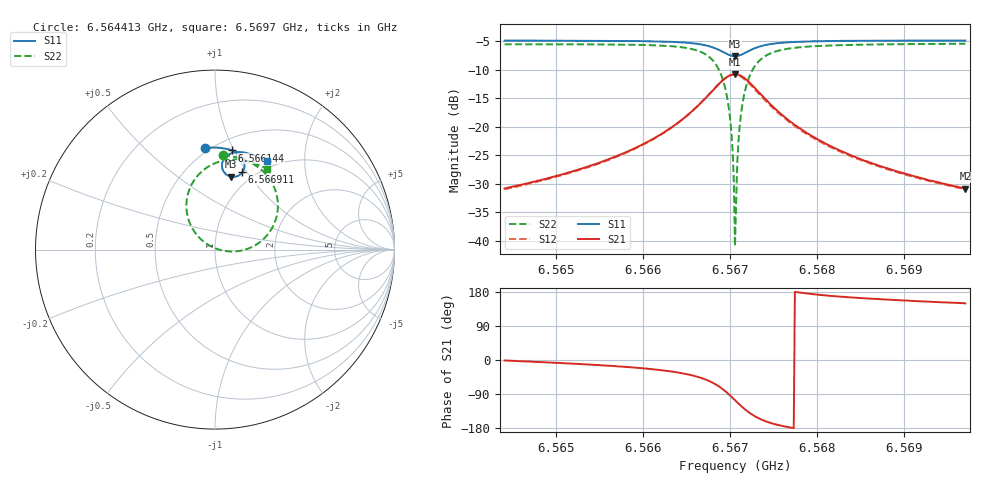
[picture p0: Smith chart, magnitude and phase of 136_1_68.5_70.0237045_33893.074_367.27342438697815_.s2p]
#  HZ  S  RI  R  50.00
! Rohde & Schwarz Vector Network Analyzer
! Rohde-Schwarz,ZNB20-2Port,1311601062101988,3.16
! Created: UTC 3/20/2024, 4:54:40 PM
! freq[Hz]  re:S11  im:S11  re:S21  im:S21  re:S12  im:S12  re:S22  im:S22
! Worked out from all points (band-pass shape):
!   401 points, 6.564413 GHz to 6.5697 GHz, reference 50 ohm
!   highest |S21| = -10.78 dB at 6.567056 GHz (marker M1); lowest = -30.8 dB at 6.5697 GHz (marker M2)
!   |S21| within 3 dB of the highest: 6.566792 GHz to 6.56732 GHz (528 kHz wide, 0.00804 % of centre)
!   lowest |S11| = -7.6 dB at 6.567056 GHz (marker M3), VSWR 2.42, Z = 41.5 + j40.7 ohm
!   |S11| at or under -10 dB: nowhere
!   |S22| runs from -40.9 to -5.4 dB; largest |S21 - S12| = 0.014
!   S11 on the Smith chart (normalised r, x): 6.564413 GHz: 0.47, +0.79; 6.566144 GHz: 0.61, +0.98; 6.566911 GHz: 0.88, +0.95; 6.5697 GHz: 0.90, +1.32
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6.5644128e9  -0.0579 0.5663  0.0287 -0.000698  0.0284 -0.00117  0.0437 0.5265
6.5652983e9  0.0149 0.5678  0.0423 -0.00825  0.0416 -0.00878  0.129 0.5121
6.5661442e9  0.0951 0.5526  0.073 -0.0344  0.0719 -0.0351  0.2431 0.4571
6.5661839e9  0.0994 0.5509  0.0753 -0.037  0.0743 -0.0379  0.2502 0.4516
6.5666993e9  0.1597 0.4963  0.1111 -0.1316  0.1084 -0.1343  0.3497 0.267
6.5668183e9  0.1644 0.4627  0.1002 -0.1903  0.0952 -0.1939  0.3342 0.1551
6.5669108e9  0.1519 0.4302  0.0608 -0.246  0.0521 -0.249  0.2621 0.0513
6.5669901e9  0.122 0.4083  -0.0072 -0.2804  -0.0194 -0.2796  0.1364 -0.00753
6.5670165e9  0.1086 0.4053  -0.0358 -0.2836  -0.0485 -0.2808  0.0849 -0.0106
6.5670297e9  0.1017 0.4049  -0.0504 -0.283  -0.0631 -0.279  0.0587 -0.00801
6.567043e9  0.0946 0.4052  -0.0652 -0.2811  -0.0778 -0.2759  0.0328 -0.00295
6.5670562e9  0.0876 0.4064  -0.0796 -0.2778  -0.0919 -0.2714  0.00756 0.00487
6.5670694e9  0.0809 0.4085  -0.0938 -0.2728  -0.1057 -0.2654  -0.0167 0.0152
6.5670826e9  0.0744 0.411  -0.1072 -0.2667  -0.1185 -0.2583  -0.0399 0.028
6.567109e9  0.0627 0.4184  -0.1317 -0.2509  -0.1413 -0.2406  -0.0804 0.0593
6.5671355e9  0.0532 0.4278  -0.1518 -0.2313  -0.1596 -0.22  -0.1125 0.0967
6.5671883e9  0.0414 0.4498  -0.1779 -0.1873  -0.1817 -0.1753  -0.1505 0.1771
6.5672544e9  0.0393 0.4767  -0.1877 -0.1347  -0.1877 -0.124  -0.1582 0.2698
6.5675056e9  0.0774 0.5308  -0.1439 -0.0281  -0.1406 -0.0239  -0.0565 0.449
6.5679417e9  0.1404 0.5433  -0.0822 0.00862  -0.0802 0.00994  0.0819 0.5009
6.5688272e9  0.224 0.5235  -0.0398 0.0153  -0.039 0.0156  0.2128 0.4838
6.5696996e9  0.2889 0.4925  -0.0247 0.0146  -0.0243 0.0147  0.2908 0.4483
